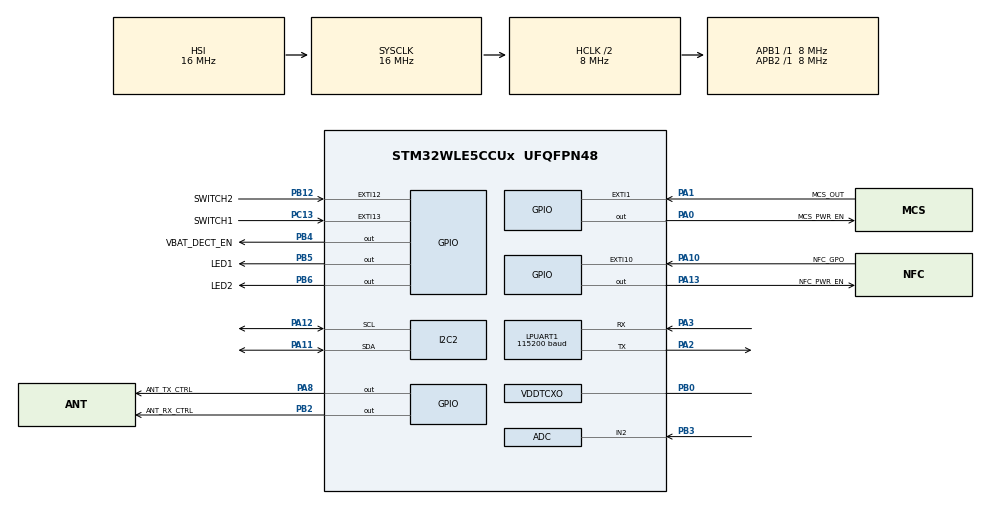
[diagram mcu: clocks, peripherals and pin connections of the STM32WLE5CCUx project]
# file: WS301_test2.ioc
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ADC.NbrOfConversion=1
Dma.LPUART1_RX.0.Direction=DMA_PERIPH_TO_MEMORY
Dma.LPUART1_RX.0.EventEnable=DISABLE
Dma.LPUART1_RX.0.Instance=DMA1_Channel1
Dma.LPUART1_RX.0.MemDataAlignment=DMA_MDATAALIGN_BYTE
Dma.LPUART1_RX.0.MemInc=DMA_MINC_ENABLE
Dma.LPUART1_RX.0.Mode=DMA_NORMAL
Dma.LPUART1_RX.0.PeriphDataAlignment=DMA_PDATAALIGN_BYTE
Dma.LPUART1_RX.0.PeriphInc=DMA_PINC_DISABLE
Dma.LPUART1_RX.0.Polarity=HAL_DMAMUX_REQ_GEN_RISING
Dma.LPUART1_RX.0.Priority=DMA_PRIORITY_LOW
Dma.LPUART1_RX.0.RequestNumber=1
Dma.LPUART1_RX.0.SignalID=NONE
Dma.LPUART1_RX.0.SyncEnable=DISABLE
Dma.LPUART1_RX.0.SyncPolarity=HAL_DMAMUX_SYNC_NO_EVENT
Dma.LPUART1_RX.0.SyncRequestNumber=1
Dma.LPUART1_RX.0.SyncSignalID=NONE
Dma.Request0=LPUART1_RX
FREERTOS.Tasks01=defaultTask,24,1024,StartDefaultTask,Default,NULL,Dynamic,NULL,NULL;KeyTask,8,128,StartKeyTask,Default,NULL,Dynamic,NULL,NULL
FREERTOS.configTOTAL_HEAP_SIZE=0x4000
FREERTOS.configUSE_NEWLIB_REENTRANT=1
I2C2.Timing=0x2000090E
IWDG.Prescaler=IWDG_PRESCALER_256
LORAWAN.Activate_BOARD_RESOURCES=none
LORAWAN.LORAWAN_DEVICE_EUI=00, 80, E1, 01, 01, 01, 01, 02
LORAWAN.LORAWAN_DEVICE_EUI_HEX=0x00, 0x80, 0xE1, 0x01, 0x01, 0x01, 0x01, 0x02
LORAWAN.REGION_AS923=true
LORAWAN.REGION_AU915=true
LORAWAN.REGION_CN470=true
LORAWAN.REGION_IN865=true
LORAWAN.REGION_KR920=true
LORAWAN.REGION_RU864=true
LORAWAN.STATIC_DEVICE_ADDRESS=true
LORAWAN.STATIC_DEVICE_EUI=false
LPUART1.BaudRate=115200
LPUART1.FIFOMode=UART_FIFOMODE_DISABLE
LoRaWAN.BSP.number=3
LoRaWAN0.BSP.STBoard=false
LoRaWAN0.BSP.api=Unknown
LoRaWAN0.BSP.condition=SEM_RADIO_BOARD_INTERFACE_FOR_LORA
LoRaWAN0.BSP.i2caddr=0
LoRaWAN0.BSP.instance=PB5
LoRaWAN0.BSP.ip=GPIO
LoRaWAN0.BSP.mode=Output
LoRaWAN0.BSP.name=RF SW CTRL 3
LoRaWAN0.BSP.solution=PB5
LoRaWAN1.BSP.STBoard=false
LoRaWAN1.BSP.api=Unknown
LoRaWAN1.BSP.condition=SEM_RADIO_BOARD_INTERFACE_FOR_LORA
LoRaWAN1.BSP.i2caddr=0
LoRaWAN1.BSP.instance=PB2
LoRaWAN1.BSP.ip=GPIO
LoRaWAN1.BSP.mode=Output
LoRaWAN1.BSP.name=RF SW CTRL 1
LoRaWAN1.BSP.solution=PB2
LoRaWAN2.BSP.STBoard=false
LoRaWAN2.BSP.api=Unknown
LoRaWAN2.BSP.condition=SEM_RADIO_BOARD_INTERFACE_FOR_LORA
LoRaWAN2.BSP.i2caddr=0
LoRaWAN2.BSP.instance=PA8
LoRaWAN2.BSP.ip=GPIO
LoRaWAN2.BSP.mode=Output
LoRaWAN2.BSP.name=RF SW CTRL 2
LoRaWAN2.BSP.solution=PA8
Mcu.Family=STM32WL
Mcu.Name=STM32WLE5CCUx
Mcu.Package=UFQFPN48
NVIC.DMA1_Channel1_IRQn=true\:5\:0\:false\:false\:true\:true\:false\:true
NVIC.EXTI15_10_IRQn=true\:5\:0\:true\:false\:true\:true\:true\:true
NVIC.EXTI1_IRQn=true\:5\:0\:true\:false\:true\:true\:true\:true
NVIC.LPUART1_IRQn=true\:5\:0\:true\:false\:true\:true\:true\:true
NVIC.PriorityGroup=NVIC_PRIORITYGROUP_4
NVIC.RTC_Alarm_IRQn=true\:1\:0\:true\:false\:true\:false\:true\:true
NVIC.SUBGHZ_Radio_IRQn=true\:5\:0\:false\:false\:true\:true\:true\:true
NVIC.TAMP_STAMP_LSECSS_SSRU_IRQn=true\:1\:0\:true\:false\:true\:false\:true\:true
NVIC.TIM16_IRQn=true\:5\:0\:false\:false\:true\:true\:true\:true
NVIC.TIM1_UP_IRQn=true\:0\:0\:false\:false\:true\:false\:false\:true
NVIC.TimeBase=TIM1_UP_IRQn
NVIC.TimeBaseIP=TIM1
OSC_IN.Mode=HSE-TCXO
OSC_IN.Signal=RCC_OSC_IN
PA0.GPIO_Label=MCS_PWR_EN
PA0.Signal=GPIO_Output
PA1.GPIO_Label=MCS_OUT
PA1.GPIO_ModeDefaultEXTI=GPIO_MODE_IT_RISING_FALLING
PA1.Signal=GPXTI1
PA10.GPIO_Label=NFC_GPO
PA10.GPIO_ModeDefaultEXTI=GPIO_MODE_IT_RISING_FALLING
PA10.Signal=GPXTI10
PA11.Mode=I2C
PA11.Signal=I2C2_SDA
PA12.Mode=I2C
PA12.Signal=I2C2_SCL
PA13.GPIO_Label=NFC_PWR_EN
PA13.Signal=GPIO_Output
PA2.Mode=Asynchronous
PA2.Signal=LPUART1_TX
PA3.Mode=Asynchronous
PA3.Signal=LPUART1_RX
PA8.GPIO_Label=ANT_TX_CTRL
PA8.Signal=GPIO_Output
PB0-VDD_TCXO.Mode=HSE-TCXO
PB0-VDD_TCXO.Signal=VDDTCXO
PB12.GPIO_Label=SWITCH2
PB12.GPIO_ModeDefaultEXTI=GPIO_MODE_IT_RISING_FALLING
PB12.Signal=GPXTI12
PB2.GPIO_Label=ANT_RX_CTRL
PB2.Signal=GPIO_Output
PB3.Mode=IN2
PB3.Signal=ADC_IN2
PB4.GPIO_Label=VBAT_DECT_EN
PB4.Signal=GPIO_Output
PB5.GPIO_Label=LED1
PB5.Signal=GPIO_Output
PB6.GPIO_Label=LED2
PB6.Signal=GPIO_Output
PC13.GPIO_Label=SWITCH1
PC13.GPIO_ModeDefaultEXTI=GPIO_MODE_IT_FALLING
PC13.Signal=GPXTI13
PC14-OSC32_IN.Mode=LSE-External-Oscillator
PC14-OSC32_IN.Signal=RCC_OSC32_IN
PC15-OSC32_OUT.Mode=LSE-External-Oscillator
PC15-OSC32_OUT.Signal=RCC_OSC32_OUT
ProjectManager.HeapSize=0x800
ProjectManager.StackSize=0x800
ProjectManager.TargetToolchain=STM32CubeIDE
RCC.AHBCLKDivider=RCC_SYSCLK_DIV2
RCC.AHBFreq_Value=8000000
RCC.APB1Freq_Value=8000000
RCC.APB1TimFreq_Value=8000000
RCC.APB2Freq_Value=8000000
RCC.APB2TimFreq_Value=8000000
RCC.APB3Freq_Value=16000000
RCC.CortexFreq_Value=8000000
RCC.HCLKFreq_Value=8000000
RCC.HSE_VALUE=32000000
RCC.HSI_VALUE=16000000
RCC.LPUART1CLockSelection=RCC_LPUART1CLKSOURCE_HSI
RCC.LSE_Drive_Capability=RCC_LSEDRIVE_LOW
RCC.LSE_VALUE=32768
RCC.PLLSourceVirtual=RCC_PLLSOURCE_HSI
RCC.RTCClockSelection=RCC_RTCCLKSOURCE_LSE
RCC.SYSCLKFreq_VALUE=16000000
RCC.SYSCLKSource=RCC_SYSCLKSOURCE_HSI
RCC.VCOOutputFreq_Value=128000000
RTC.Alarm-Alarm\ A=RTC_ALARM_A
RTC.AsynchPrediv=32-1
RTC.BinMode=RTC_BINARY_ONLY
RTC.BinaryAutoClr_A-Alarm\ A=RTC_ALARMSUBSECONDBIN_AUTOCLR_NO
RTC.Format=RTC_FORMAT_BIN
TIM16.AutoReloadPreload=TIM_AUTORELOAD_PRELOAD_ENABLE
TIM16.Period=1000-1
TIM16.Prescaler=8-1
VP_ADV_TRACE_VS_ADV_TRACE.Mode=ADV_TRACE_Enabled
VP_FREERTOS_VS_CMSIS_V2.Mode=CMSIS_V2
VP_IWDG_VS_IWDG.Mode=IWDG_Activate
VP_LORAWAN_VS_LoRaWAN.Mode=LoRaWAN_Enabled
VP_MISC_VS_MISC.Mode=MISC_Enabled
VP_RTC_VS_RTC_Activate.Mode=RTC_Enabled
VP_RTC_VS_RTC_Alarm_A_Intern.Mode=Alarm A
VP_RTC_VS_RTC_Calendar.Mode=RTC_Calendar
VP_SUBGHZ_VS_SUBGHZ.Mode=SUBGHZ_Activate
VP_SYS_VS_tim1.Mode=TIM1
VP_TIM16_VS_ClockSourceINT.Mode=Enable_Timer
VP_TIMER_VS_TIMER.Mode=TIMER_Enabled
VP_TINY_LPM_VS_TINY_LPM.Mode=TINY_LPM_Enabled
board=custom

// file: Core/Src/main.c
/* USER CODE BEGIN Header */
/**
  ******************************************************************************
  * @file           : main.c
  * @brief          : Main program body
  ******************************************************************************
  * @attention
  *
  * <h2><center>&copy; Copyright (c) 2022 STMicroelectronics.
  * All rights reserved.</center></h2>
  *
  * This software component is licensed by ST under Ultimate Liberty license
  * SLA0044, the "License"; You may not use this file except in compliance with
  * the License. You may obtain a copy of the License at:
  *                             www.st.com/SLA0044
  *
  ******************************************************************************
  */
/* USER CODE END Header */
#include "main.h"
#include "cmsis_os.h"
#include "adc.h"
#include "dma.h"
#include "i2c.h"
#include "iwdg.h"
#include "app_lorawan.h"
#include "usart.h"
#include "rtc.h"
#include "subghz.h"
#include "tim.h"
#include "gpio.h"

/* USER CODE BEGIN Includes */
#include "stdio.h"
#include "timer_if.h"
/* USER CODE END Includes */

/* USER CODE BEGIN PTD */

#ifdef __GNUC__
#define PUTCHAR_PROTOTYPE int __io_putchar(int ch)
#else
#define PUTCHAR_PROTOTYPE int fputc(int ch, FILE *f)
#endif

PUTCHAR_PROTOTYPE
{
    HAL_UART_Transmit(&hlpuart1, (uint8_t *)&ch, 1 , 10);
    return ch;
}
/* USER CODE END PTD */

void SystemClock_Config(void);
void MX_FREERTOS_Init(void);

int main(void)
{

  /* MCU Configuration--------------------------------------------------------*/

  /* Reset of all peripherals, Initializes the Flash interface and the Systick. */
  HAL_Init();

  /* Configure the system clock */
  SystemClock_Config();

  /* Initialize all configured peripherals */
  MX_GPIO_Init();
  MX_DMA_Init();
  MX_ADC_Init();
  MX_I2C2_Init();
//  MX_IWDG_Init();
  MX_LPUART1_UART_Init();
  MX_RTC_Init();
  MX_TIM16_Init();
  MX_SUBGHZ_Init();
  UTIL_TIMER_Init();
  /* USER CODE BEGIN 2 */
  // 关机后没有彻底断电, 则会产生复位标志, [28..31]无复位标志说明更换电池
  // bit24 非法的 Sub-GHz 命令    bit25 选项字节加载重置      bit26 引脚复位          bit27 低电压 BOR 复位
  // bit28 软件复位               bit29 独立看门狗复位        bit30 窗口看门狗复位    bit31 低功耗非法模式复位
  uint32_t rcc_csr = READ_REG(RCC->CSR);
  printf("Welcome to WS301 Application! rcc_csr = %08lx\r\n", rcc_csr);

  /* USER CODE END 2 */

  /* Init scheduler */
  osKernelInitialize();  /* Call init function for freertos objects (in freertos.c) */
  MX_FREERTOS_Init();
  /* Start scheduler */
  osKernelStart();

  /* We should never get here as control is now taken by the scheduler */
  /* Infinite loop */
  while (1)
  {

  }
}

void SystemClock_Config(void)
{
  RCC_OscInitTypeDef RCC_OscInitStruct = {0};
  RCC_ClkInitTypeDef RCC_ClkInitStruct = {0};

  /** Configure LSE Drive Capability
  */
  __HAL_RCC_LSEDRIVE_CONFIG(RCC_LSEDRIVE_LOW);
  /** Configure the main internal regulator output voltage
  */
  __HAL_PWR_VOLTAGESCALING_CONFIG(PWR_REGULATOR_VOLTAGE_SCALE2);
  /** Initializes the CPU, AHB and APB busses clocks
  */
  RCC_OscInitStruct.OscillatorType = RCC_OSCILLATORTYPE_HSI|RCC_OSCILLATORTYPE_LSI
                              |RCC_OSCILLATORTYPE_LSE;
  RCC_OscInitStruct.LSEState = RCC_LSE_ON;
  RCC_OscInitStruct.HSIState = RCC_HSI_ON;
  RCC_OscInitStruct.HSICalibrationValue = RCC_HSICALIBRATION_DEFAULT;
  RCC_OscInitStruct.LSIDiv = RCC_LSI_DIV1;
  RCC_OscInitStruct.LSIState = RCC_LSI_ON;
  RCC_OscInitStruct.PLL.PLLState = RCC_PLL_NONE;
  if (HAL_RCC_OscConfig(&RCC_OscInitStruct) != HAL_OK)
  {
    Error_Handler();
  }
  /** Configure the SYSCLKSource, HCLK, PCLK1 and PCLK2 clocks dividers
  */
  RCC_ClkInitStruct.ClockType = RCC_CLOCKTYPE_HCLK3|RCC_CLOCKTYPE_HCLK
                              |RCC_CLOCKTYPE_SYSCLK|RCC_CLOCKTYPE_PCLK1
                              |RCC_CLOCKTYPE_PCLK2;
  RCC_ClkInitStruct.SYSCLKSource = RCC_SYSCLKSOURCE_HSI;
  RCC_ClkInitStruct.AHBCLKDivider = RCC_SYSCLK_DIV2;
  RCC_ClkInitStruct.APB1CLKDivider = RCC_HCLK_DIV1;
  RCC_ClkInitStruct.APB2CLKDivider = RCC_HCLK_DIV1;
  RCC_ClkInitStruct.AHBCLK3Divider = RCC_SYSCLK_DIV1;

  if (HAL_RCC_ClockConfig(&RCC_ClkInitStruct, FLASH_LATENCY_0) != HAL_OK)
  {
    Error_Handler();
  }
}

 /**
  * @brief  Period elapsed callback in non blocking mode
  * @note   This function is called  when TIM1 interrupt took place, inside
  * HAL_TIM_IRQHandler(). It makes a direct call to HAL_IncTick() to increment
  * a global variable "uwTick" used as application time base.
  * @param  htim : TIM handle
  * @retval None
  */
void HAL_TIM_PeriodElapsedCallback(TIM_HandleTypeDef *htim)
{
  if (htim->Instance == TIM1) {
    HAL_IncTick();
  }
}

void Error_Handler(void)
{
  printf("errorhandler\r\n");
  __disable_irq();
  while (1)
  {
  }
}

/************************ (C) COPYRIGHT STMicroelectronics *****END OF FILE****/

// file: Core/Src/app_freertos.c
/* USER CODE BEGIN Header */
/**
  ******************************************************************************
  * File Name          : app_freertos.c
  * Description        : Code for freertos applications
  ******************************************************************************
  * @attention
  *
  * <h2><center>&copy; Copyright (c) 2022 STMicroelectronics.
  * All rights reserved.</center></h2>
  *
  * This software component is licensed by ST under Ultimate Liberty license
  * SLA0044, the "License"; You may not use this file except in compliance with
  * the License. You may obtain a copy of the License at:
  *                             www.st.com/SLA0044
  *
  ******************************************************************************
  */
/* USER CODE END Header */

#include "FreeRTOS.h"
#include "task.h"
#include "main.h"
#include "cmsis_os.h"

#include "app_lorawan.h"

/* USER CODE BEGIN Includes */
#include "lora_app.h"
#include "LmHandler.h"
#include <stdio.h>
/* USER CODE END Includes */

/* Definitions for defaultTask */
osThreadId_t defaultTaskHandle;
const osThreadAttr_t defaultTask_attributes = {
  .name = "defaultTask",
  .priority = (osPriority_t) osPriorityNormal,
  .stack_size = 1024 * 4
};
/* Definitions for KeyTask */
osThreadId_t KeyTaskHandle;
const osThreadAttr_t KeyTask_attributes = {
  .name = "KeyTask",
  .priority = (osPriority_t) osPriorityLow,
  .stack_size = 128 * 4
};

void StartDefaultTask(void *argument);
void StartKeyTask(void *argument);

void MX_FREERTOS_Init(void); /* (MISRA C 2004 rule 8.1) */

void MX_FREERTOS_Init(void) {

  /* Create the thread(s) */
  /* creation of defaultTask */
  defaultTaskHandle = osThreadNew(StartDefaultTask, NULL, &defaultTask_attributes);

  /* creation of KeyTask */
  KeyTaskHandle = osThreadNew(StartKeyTask, NULL, &KeyTask_attributes);

}

void StartDefaultTask(void *argument)
{
  /* init code for LoRaWAN */
  MX_LoRaWAN_Init();
  /* USER CODE BEGIN StartDefaultTask */
  /* Infinite loop */
  for(;;)
  {
	 MX_LoRaWAN_Process();
	 osDelay(10);
  }
  /* USER CODE END StartDefaultTask */
}

void StartKeyTask(void *argument)
{
  /* USER CODE BEGIN StartKeyTask */
  /* Infinite loop */
  for(;;)
  {
	  if(HAL_GPIO_ReadPin(SWITCH2_GPIO_Port, SWITCH2_Pin) == SWITCH2_PRESS){
		  osDelay(10);
		  if(HAL_GPIO_ReadPin(SWITCH2_GPIO_Port, SWITCH2_Pin) == SWITCH2_PRESS){
			  LED_GREEN_TOGGLE;
			  SendTxData();
			  while(HAL_GPIO_ReadPin(SWITCH2_GPIO_Port, SWITCH2_Pin) == SWITCH2_PRESS){
				  osDelay(100);
			  }

		  }
	  }
	  osDelay(10);
  }
  /* USER CODE END StartKeyTask */
}

/************************ (C) COPYRIGHT STMicroelectronics *****END OF FILE****/
